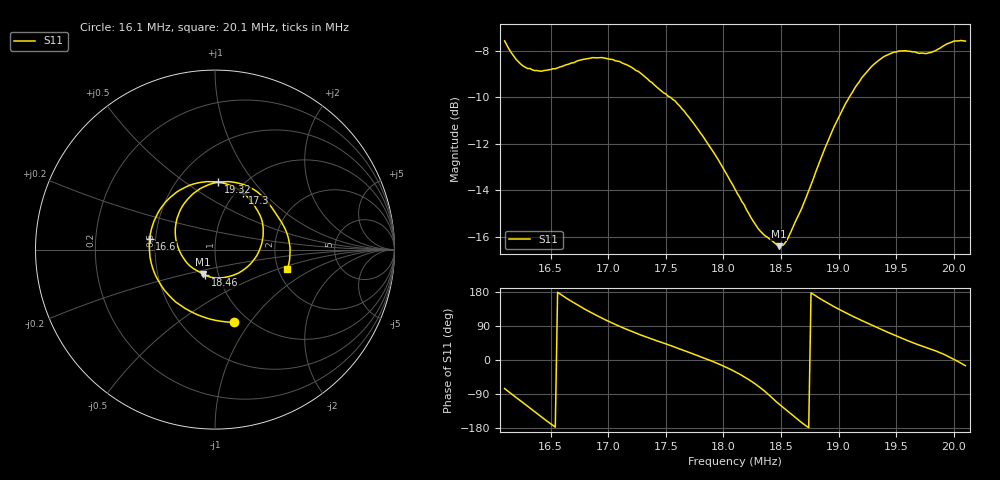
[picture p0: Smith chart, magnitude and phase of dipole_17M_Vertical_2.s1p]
# MHz S RI R 50
! S-Parameters data
! Freq  reS11  imS11
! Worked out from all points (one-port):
!   201 points, 16.1 MHz to 20.1 MHz, reference 50 ohm
!   lowest |S11| = -16.4 dB at 18.48 MHz (marker M1), VSWR 1.36, Z = 42.3 - j11.8 ohm
!   |S11| at or under -10 dB: 17.54 MHz to 19.09 MHz (1.55 MHz wide, 8.46 % of centre)
!   S11 on the Smith chart (normalised r, x): 16.1 MHz: 0.86, -0.84; 16.6 MHz: 0.46, +0.07; 17.3 MHz: 1.07, +0.78; 18.46 MHz: 0.86, -0.25; 19.32 MHz: 0.78, +0.68; 20.1 MHz: 2.25, -0.59
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16.1  0.1061 -0.4049
16.24  -0.1164 -0.3545
16.38  -0.2817 -0.2263
16.48  -0.3484 -0.0999
16.6  -0.3637 0.0606
16.72  -0.3183 0.2035
16.86  -0.2133 0.3206
16.98  -0.1005 0.3703
17.1  0.00943 0.3776
17.3  0.1549 0.3176
17.6  0.2619 0.1594
17.82  0.2595 0.0297
18.1  0.1726 -0.1027
18.3  0.0603 -0.1537
18.46  -0.0534 -0.1429
18.48  -0.0656 -0.1363
18.6  -0.1371 -0.093
18.74  -0.1991 -0.00471
18.86  -0.2213 0.0895
18.98  -0.206 0.1895
19.1  -0.153 0.28
19.2  -0.0855 0.3379
19.32  0.0164 0.3749
19.44  0.1251 0.3716
19.6  0.2508 0.3087
19.9  0.3896 0.1175
20  0.4179 0.0144
20.1  0.4037 -0.1085
